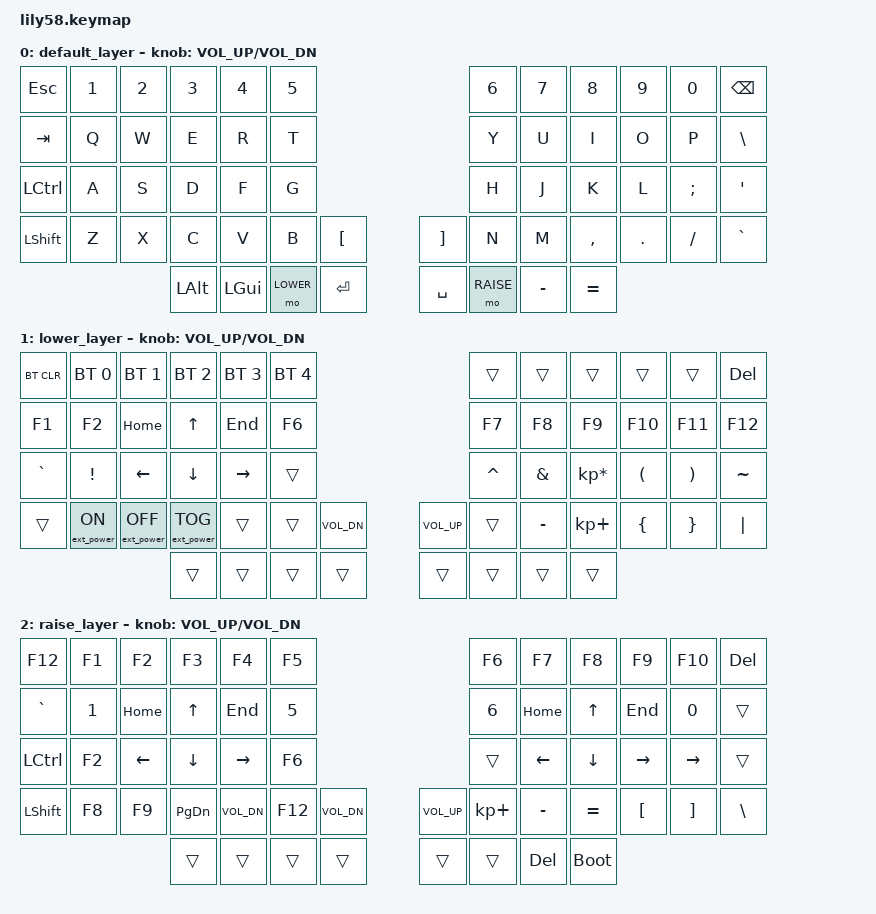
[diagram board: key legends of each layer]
/*
 * Copyright (c) 2020 The ZMK Contributors
 *
 * SPDX-License-Identifier: MIT
 */

#include <behaviors.dtsi>
#include <dt-bindings/zmk/keys.h>
#include <dt-bindings/zmk/bt.h>
#include <dt-bindings/zmk/ext_power.h>

#define BASE 0
#define LOWER 1
#define RAISE 2

/ {
    keymap {
        compatible = "zmk,keymap";

        default_layer {
            // ------------------------------------------------------------------------------------------------------------
            // |  ESC  |  1  |  2  |  3   |  4   |  5   |                   |  6   |  7    |  8    |  9   |   0   | BSPC  |
            // |  TAB  |  Q  |  W  |  E   |  R   |  T   |                   |  Y   |  U    |  I    |  O   |   P   |   \   |
            // |  CTRL |  A  |  S  |  D   |  F   |  G   |                   |  H   |  J    |  K    |  L   |   ;   |   '   |
            // | SHIFT |  Z  |  X  |  C   |  V   |  B   |   "["  |  |  "]"  |  N   |  M    |  ,    |  .   |   /   |   `   |
            //                     | ALT  | GUI  | LOWER|  ENTER |  | SPACE | RAISE| BSPC  | GUI   |

            bindings = <
    &kp ESC  &kp N1  &kp N2    &kp N3    &kp N4  &kp N5                        &kp N6    &kp N7     &kp N8   &kp N9    &kp N0      &kp BSPC
    &kp TAB   &kp Q   &kp W     &kp E     &kp R   &kp T                         &kp Y     &kp U      &kp I    &kp O     &kp P  &kp BACKSLASH
  &kp LCTRL   &kp A   &kp S     &kp D     &kp F   &kp G                         &kp H     &kp J      &kp K    &kp L  &kp SEMI        &kp SQT
 &kp LSHIFT   &kp Z   &kp X     &kp C     &kp V   &kp B  &kp LBKT  &kp RBKT   &kp N     &kp M  &kp COMMA  &kp DOT  &kp FSLH      &kp GRAVE
                             &kp LALT  &kp LGUI   &mo LOWER  &kp RET    &kp SPACE   &mo RAISE  &kp MINUS   &kp EQUAL
            >;

            sensor-bindings = <&inc_dec_kp C_VOL_UP C_VOL_DN>;
        };

        lower_layer {
            // ------------------------------------------------------------------------------------------------------------
            // | BTCLR | BT1 | BT2 |  BT3 |  BT4 |  BT5 |                   |      |       |       |      |       |       |
            // |  F1   |  F2 |  F3 |  F4  |  F5  |  F6  |                   |  F7  |  F8   |  F9   |  F10 |  F11  |  F12  |
            // |   `   |  !  |  @  |  #   |  $   |  %   |                   |  ^   |  &    |  *    |  (   |   )   |   ~   |
            // |       |     |     |      |      |      |        |  |       |      |  _    |  +    |  {   |   }   |  "|"  |
            //                     |      |      |      |        |  |       |      |       |       |

            bindings = <
 &bt BT_CLR      &bt BT_SEL 0       &bt BT_SEL 1       &bt BT_SEL 2  &bt BT_SEL 3  &bt BT_SEL 4                                          &trans     &trans           &trans    &trans    &trans     &kp DELETE
     &kp F1            &kp F2             &kp HOME           &kp UP        &kp END        &kp F6                                          &kp F7     &kp F8           &kp F9   &kp F10   &kp F11    &kp F12
  &kp GRAVE          &kp EXCL             &kp LEFT           &kp DOWN      &kp RIGHT     &trans                                       &kp CARET   &kp AMPS  &kp KP_MULTIPLY  &kp LPAR  &kp RPAR  &kp TILDE
     &trans  &ext_power EP_ON  &ext_power EP_OFF  &ext_power EP_TOG        &trans        &trans  &kp C_VOL_DN  &kp C_VOL_UP     &trans  &kp MINUS      &kp KP_PLUS  &kp LBRC  &kp RBRC   &kp PIPE
                                                             &trans        &trans        &trans            &trans             &trans     &trans     &trans           &trans
            >;

            sensor-bindings = <&inc_dec_kp C_VOL_UP C_VOL_DN>;
        };

        raise_layer {
            // ------------------------------------------------------------------------------------------------------------
            // |       |     |     |      |      |      |                   |      |       |       |      |       |       |
            // |   `   |  1  |  2  |  3   |  4   |  5   |                   |  6   |   7   |   8   |  9   |   0   |       |
            // |   F1  |  F2 |  F3 |  F4  |  F5  |  F6  |                   |      |   <-  |   v   |  ^   |  ->   |       |
            // |   F7  |  F8 |  F9 |  F10 |  F11 |  F12 |        |  |       |  +   |   -   |   =   |  [   |   ]   |   \   |
            //                     |      |      |      |        |  |       |      |       |       |

            bindings = <
    &kp F12  &kp F1  &kp F2     &kp F3    &kp F4    &kp F5                                            &kp F6     &kp F7       &kp F8     &kp F9    &kp F10   &kp DELETE
  &kp GRAVE  &kp N1  &kp HOME  &kp UP     &kp END   &kp N5                                            &kp N6   &kp HOME       &kp UP    &kp END     &kp N0    &trans
  &kp LCTRL  &kp F2  &kp LEFT  &kp DOWN   &kp RIGHT &kp F6                                            &trans   &kp LEFT     &kp DOWN  &kp RIGHT  &kp RIGHT    &trans
 &kp LSHIFT  &kp F8  &kp F9    &kp PG_DN  &kp C_VOL_DN  &kp F12  &kp C_VOL_DN  &kp C_VOL_UP  &kp KP_PLUS  &kp MINUS    &kp EQUAL   &kp LBKT   &kp RBKT  &kp BSLH
                                &trans        &trans   &trans            &trans             &trans       &trans    &kp DEL  &bootloader
            >;

            sensor-bindings = <&inc_dec_kp C_VOL_UP C_VOL_DN>;
        };
    };
};
